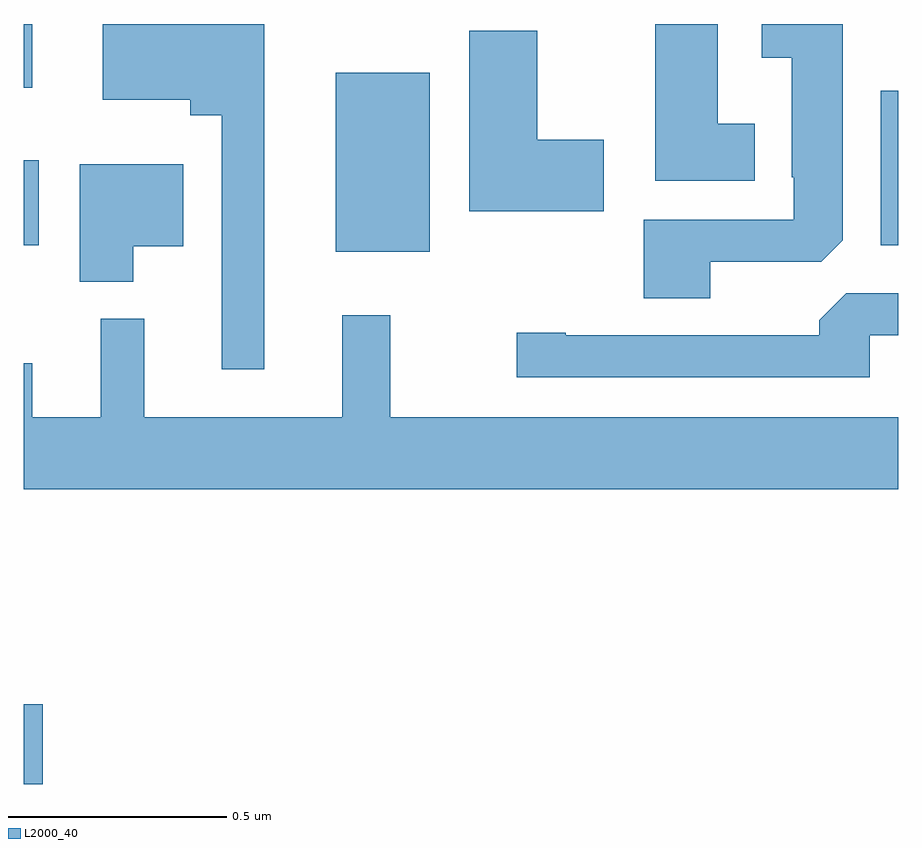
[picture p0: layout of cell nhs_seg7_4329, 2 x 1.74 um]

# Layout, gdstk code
import gdstk
lib = gdstk.Library(unit=1e-6, precision=1e-09)
def R(c, l, rs):  # rectangles x0, y0, x1, y1
    for r in rs: c.add(gdstk.rectangle(r[:2], r[2:], *l))
def P(c, l, *ps):  # polygons
    for p in ps: c.add(gdstk.Polygon(p, *l))
L2000_40 = (2000, 40)

nhs_seg7_4329 = lib.new_cell('nhs_seg7_4329')
R(nhs_seg7_4329, L2000_40, [(171,1013.261,171.043,1013.444), (171.713,1014.479,171.928,1014.889), (171,1014.494,171.034,1014.688), (172.961,1014.494,173,1014.847), (171,1014.854,171.019,1015)])
P(nhs_seg7_4329, L2000_40, [(172.57,1014.456),(172.824,1014.456),(172.873,1014.505),(172.873,1015),(172.688,1015),(172.688,1014.923),(172.757,1014.923),(172.757,1014.649),(172.761,1014.649),(172.761,1014.552),(172.418,1014.552),(172.418,1014.373),(172.57,1014.373)],
  [(171.55,1015),(171.18,1015),(171.18,1014.827),(171.38,1014.827),(171.38,1014.791),(171.453,1014.791),(171.453,1014.21),(171.55,1014.21)],
  [(172.672,1014.772),(172.588,1014.772),(172.588,1015),(172.445,1015),(172.445,1014.641),(172.672,1014.641)],
  [(172.327,1014.735),(172.174,1014.735),(172.174,1014.985),(172.019,1014.985),(172.019,1014.572),(172.327,1014.572)],
  [(171.25,1014.491),(171.364,1014.491),(171.364,1014.679),(171.128,1014.679),(171.128,1014.41),(171.25,1014.41)],
  [(172.935,1014.288),(173,1014.288),(173,1014.384),(172.881,1014.384),(172.82,1014.322),(172.82,1014.288),(172.24,1014.288),(172.24,1014.293),(172.128,1014.293),(172.128,1014.192),(172.935,1014.192)],
  [(173,1014.1),(171.838,1014.1),(171.838,1014.334),(171.728,1014.334),(171.728,1014.1),(171.275,1014.1),(171.275,1014.325),(171.176,1014.325),(171.176,1014.1),(171.019,1014.1),(171.019,1014.224),(171,1014.224),(171,1013.936),(173,1013.936)])

lib.write_gds('nhs_seg7_4329.gds')
